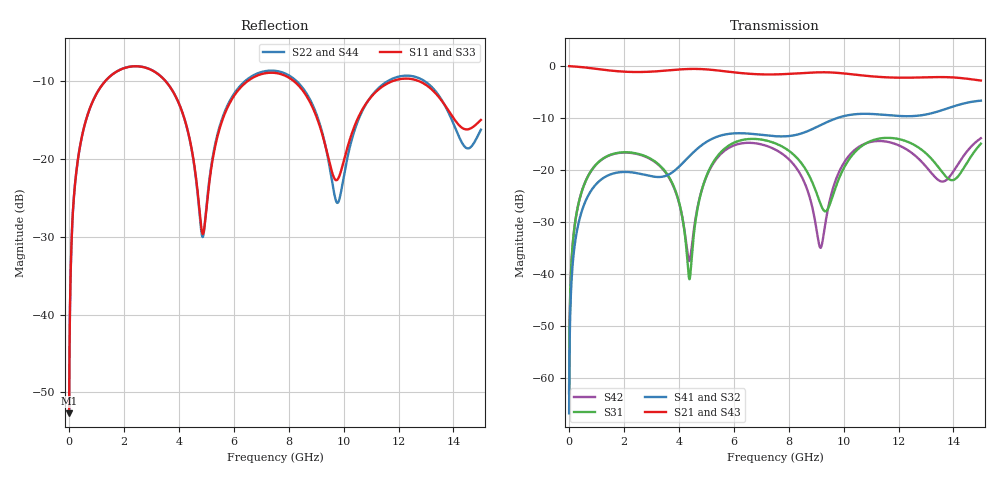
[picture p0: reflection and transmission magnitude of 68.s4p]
! Created with skrf 1.8.0 (http://scikit-rf.org).
# GHz S RI R 50.0
!freq ReS11 ImS11 ReS12 ImS12 ReS13 ImS13
! ReS14 ImS14
! ReS21 ImS21 ReS22 ImS22 ReS23 ImS23
! ReS24 ImS24
! ReS31 ImS31 ReS32 ImS32 ReS33 ImS33
! ReS34 ImS34
! ReS41 ImS41 ReS42 ImS42 ReS43 ImS43
! ReS44 ImS44
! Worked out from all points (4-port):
!   2499 points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, 5 MHz to 15 GHz, reference 50 ohm
!   strongest paths, dB at 5 MHz, 3.476 GHz, 7.19 GHz, 11.1 GHz, 15 GHz:
!     S21: 0.0, -0.9, -1.6, -2.0, -2.8
!     S43: 0.0, -0.9, -1.6, -2.0, -2.8
!     S41: -66.9, -21.2, -13.4, -9.2, -6.7
!     S32: -66.9, -21.2, -13.4, -9.2, -6.7
!     S31: -63.0, -20.1, -14.3, -14.2, -14.9
!     S42: -63.0, -20.2, -15.4, -14.5, -13.9
!   lowest |S11| = -52.7 dB at 5 MHz (marker M1), VSWR 1.00, Z = 50.2 + j0.141 ohm
!   |S11| at or under -10 dB: 3.527 GHz to 6.489 GHz (2.962 GHz wide, 59.1 % of centre); 8.204 GHz to 11.75 GHz (3.55 GHz wide, 35.6 % of centre); 12.77 GHz to end of sweep (the widest 3 of 4)
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0.005  0.00184 0.0014  0.9981 -0.00358  9.21e-05 0.0007  -8.96e-05 -0.000444
       0.9981 -0.00358  0.00184 0.0014  -8.96e-05 -0.000444  9.21e-05 0.0007
       9.21e-05 0.0007  -8.96e-05 -0.000444  0.00184 0.0014  0.9981 -0.00358
       -8.96e-05 -0.000444  9.21e-05 0.0007  0.9981 -0.00358  0.00184 0.0014
0.3626511  0.0368 0.1038  0.9491 -0.2549  0.0172 0.0463  -0.0142 -0.0286
           0.9491 -0.2549  0.0369 0.1038  -0.0142 -0.0286  0.0169 0.0464
           0.0172 0.0463  -0.0142 -0.0286  0.0368 0.1038  0.9491 -0.2549
           -0.0142 -0.0286  0.0169 0.0464  0.9491 -0.2549  0.0369 0.1038
1.77574  0.3459 0.1297  0.3551 -0.8183  0.1436 0.0264  -0.0913 0.0242
         0.3551 -0.8183  0.3467 0.1287  -0.0912 0.0241  0.142 0.03
         0.1436 0.0264  -0.0912 0.0241  0.3461 0.1296  0.3551 -0.8183
         -0.0913 0.0242  0.142 0.03  0.3551 -0.8183  0.3468 0.1288
4.389329  0.0688 -0.1176  -0.8669 -0.3585  -0.0088 -0.000973  -0.0478 0.1272
          -0.8669 -0.3585  0.0666 -0.1179  -0.0487 0.1268  -0.0132 -0.00172
          -0.0088 -0.000973  -0.0487 0.1268  0.0685 -0.1183  -0.8669 -0.3585
          -0.0478 0.1272  -0.0132 -0.00172  -0.8669 -0.3585  0.0673 -0.1182
7.321801  0.3597 0.00983  -0.1041 0.8237  0.1666 -0.0865  0.2083 -0.0451
          -0.1041 0.8237  0.3712 -0.00313  0.208 -0.0427  0.1593 -0.0452
          0.1666 -0.0865  0.208 -0.0427  0.3608 0.00844  -0.1035 0.8235
          0.2083 -0.0451  0.1593 -0.0452  -0.1035 0.8235  0.3714 -0.00232
10.06044  0.0896 0.0559  0.8459 -0.0444  0.0388 0.1033  -0.0385 -0.3299
          0.8459 -0.0444  0.0681 0.0541  -0.0331 -0.3311  0.0473 0.1129
          0.0388 0.1033  -0.0331 -0.3311  0.0844 0.0563  0.8459 -0.0457
          -0.0385 -0.3299  0.0473 0.1129  0.8459 -0.0457  0.0737 0.0522
15  0.1773 0.0229  -0.7259 -0.0088  0.0679 0.1655  0.0293 0.4636
    -0.7259 -0.0088  0.145 0.0546  0.0199 0.4638  0.0219 0.2009
    0.0679 0.1655  0.0199 0.4638  0.1775 0.02  -0.7261 -0.00618
    0.0293 0.4636  0.0219 0.2009  -0.7261 -0.00618  0.1457 0.0465
